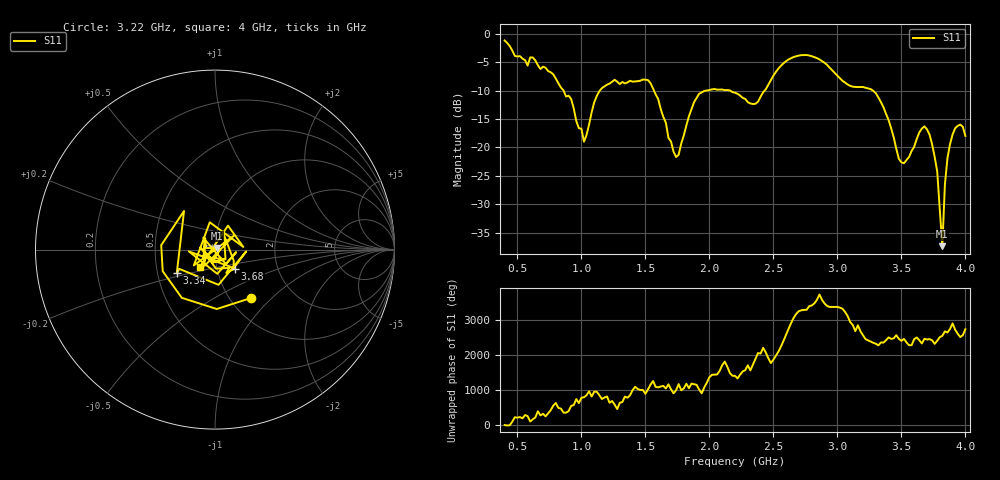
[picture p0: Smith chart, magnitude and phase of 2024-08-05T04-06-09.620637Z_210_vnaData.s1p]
!Created with skrf (http://scikit-rf.org).
# Hz S RI R 50.0
!freq ReS11 ImS11
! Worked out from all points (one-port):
!   181 points, 400 MHz to 4 GHz, reference 50 ohm
!   lowest |S11| = -37.4 dB at 3.82 GHz (marker M1), VSWR 1.03, Z = 51 + j0.93 ohm
!   |S11| at or under -10 dB: 860.8 MHz to 1.144 GHz (282.9 MHz wide, 28.2 % of centre); 1.567 GHz to 1.975 GHz (407.6 MHz wide, 23 % of centre); 3.278 GHz to end of sweep (the widest 3 of 4)
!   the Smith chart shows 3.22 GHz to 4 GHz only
!   S11 on the Smith chart (normalised r, x): 3.22 GHz: 1.24, -0.76; 3.34 GHz: 0.63, -0.18; 3.68 GHz: 1.22, -0.26; 4 GHz: 0.83, -0.16
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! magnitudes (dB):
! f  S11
! 400 MHz  -1.2
! 860 MHz  -10.0
! 920 MHz  -11.5
! 1.02 GHz  -19.0
! 1.14 GHz  -10.1
! 1.3 GHz  -8.8
! 1.54 GHz  -8.7
! 1.72 GHz  -20.8
! 1.76 GHz  -21.3
! 1.84 GHz  -14.5
! 1.92 GHz  -10.5
! 2.2 GHz  -10.4
! 2.36 GHz  -12.3
! 2.66 GHz  -4.1
! 2.86 GHz  -4.5
! 3.1 GHz  -9.2
! 3.22 GHz  -9.5
! 3.34 GHz  -12.0
! 3.48 GHz  -22.0
! 3.56 GHz  -21.7
! 3.68 GHz  -16.3
! 3.72 GHz  -17.7
! 3.78 GHz  -24.2
! 3.82 GHz  -37.4
! 3.84 GHz  -26.5
! 3.88 GHz  -19.4
! 3.94 GHz  -16.2
! 4 GHz  -18.0
